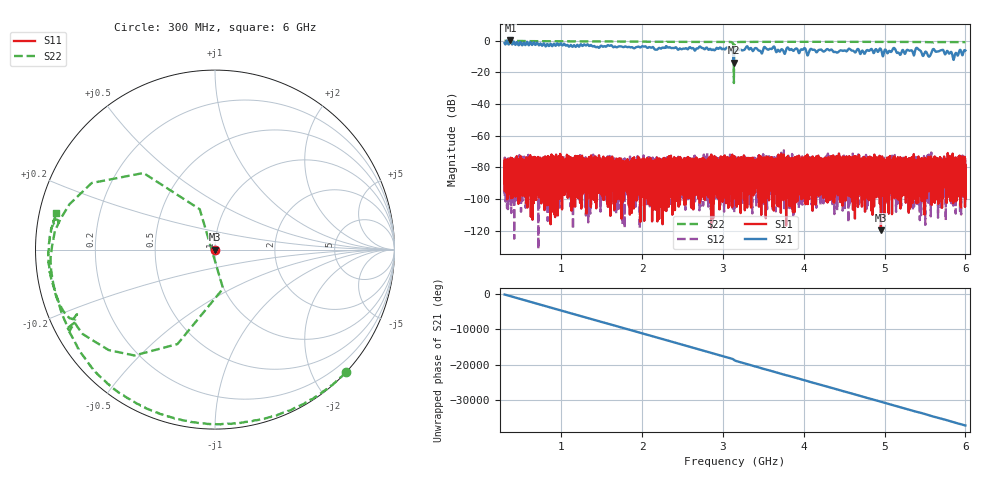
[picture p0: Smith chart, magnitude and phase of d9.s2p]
!Agilent Technologies,N5230C,SG49000117,A.08.50.07
!Agilent N5230C: A.08.50.07
!Date: Sunday, March 17, 2024 08:43:23
!Correction: S11(Off)
!S21(Off)
!S12(Off)
!S22(Full 1 Port(2))
!S2P File: Measurements: S11, S21, S12, S22:
# Hz S  RI  R 50
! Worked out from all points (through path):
!   20001 points, 300 MHz to 6 GHz, reference 50 ohm
!   highest |S21| = 0.22 dB at 371.5 MHz (marker M1); lowest = -13.7 dB at 3.133 GHz (marker M2)
!   lowest |S11| = -119.9 dB at 4.955 GHz (marker M3), VSWR 1.00, Z = 50 - j6.54e-05 ohm
!   |S11| at or under -10 dB: start of sweep to end of sweep
!   |S22| runs from -26.7 to 0.0 dB; largest |S21 - S12| = 1
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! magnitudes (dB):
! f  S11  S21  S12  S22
! 300 MHz  -79.0  -1.4  -80.6  0.0
! 371.5 MHz  -81.1  0.2  -88.0  0.0
! 1.25 GHz  -77.8  -2.6  -80.7  -0.4
! 2.2 GHz  -78.3  -4.9  -81.0  -0.6
! 3.064 GHz  -83.8  -4.5  -87.2  -0.7
! 3.133 GHz  -78.1  -13.7  -88.8  -9.4
! 3.15 GHz  -78.6  -6.1  -79.9  -1.6
! 3.177 GHz  -80.2  -5.2  -87.9  -0.9
! 3.299 GHz  -79.5  -3.4  -78.4  -0.7
! 3.467 GHz  -81.9  -6.6  -92.9  -0.7
! 3.616 GHz  -86.3  -4.4  -89.0  -0.7
! 4.051 GHz  -90.1  -9.2  -91.5  -0.6
! 4.1 GHz  -79.8  -5.4  -97.4  -0.6
! 4.955 GHz  -119.9  -5.3  -105.3  -0.7
! 5.05 GHz  -83.9  -6.8  -79.1  -0.7
! 5.352 GHz  -80.1  -7.9  -83.9  -0.7
! 5.409 GHz  -85.8  -4.8  -82.9  -0.8
! 5.549 GHz  -89.3  -10.0  -81.3  -0.8
! 5.605 GHz  -81.6  -5.2  -79.0  -1.0
! 5.704 GHz  -82.2  -5.9  -76.6  -0.8
! 5.863 GHz  -93.0  -10.2  -79.3  -0.8
! 6 GHz  -84.2  -6.1  -79.4  -0.8
